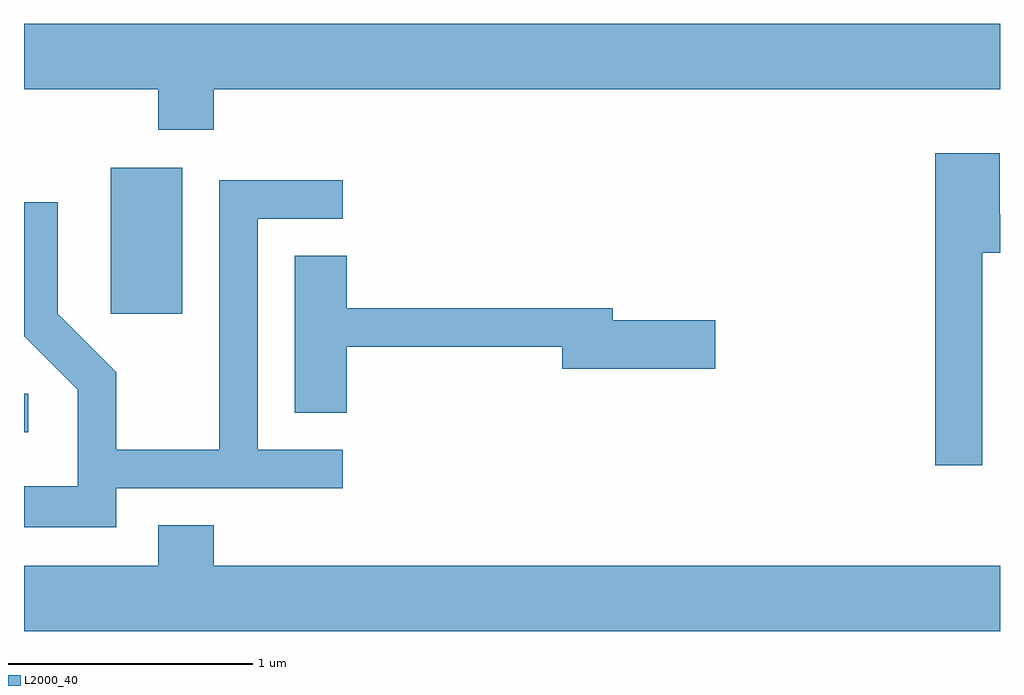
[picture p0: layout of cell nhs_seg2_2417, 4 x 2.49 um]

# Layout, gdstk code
import gdstk
lib = gdstk.Library(unit=1e-6, precision=1e-09)
def R(c, l, rs):  # rectangles x0, y0, x1, y1
    for r in rs: c.add(gdstk.rectangle(r[:2], r[2:], *l))
def P(c, l, *ps):  # polygons
    for p in ps: c.add(gdstk.Polygon(p, *l))
L2000_40 = (2000, 40)

nhs_seg2_2417 = lib.new_cell('nhs_seg2_2417')
R(nhs_seg2_2417, L2000_40, [(255.611,1053.571,255.628,1053.729), (255.966,1054.056,256.259,1054.654)])
P(nhs_seg2_2417, L2000_40, [(256.389,1054.976),(259.611,1054.976),(259.611,1055.244),(255.611,1055.244),(255.611,1054.976),(256.161,1054.976),(256.161,1054.811),(256.389,1054.811)],
  [(259.539,1054.306),(259.611,1054.306),(259.611,1054.464),(259.609,1054.464),(259.609,1054.714),(259.346,1054.714),(259.346,1053.436),(259.539,1053.436)],
  [(255.989,1053.341),(256.918,1053.341),(256.918,1053.499),(256.569,1053.499),(256.569,1054.446),(256.918,1054.446),(256.918,1054.604),(256.411,1054.604),(256.411,1053.499),(255.989,1053.499),(255.989,1053.817),(255.749,1054.057),(255.749,1054.513),(255.611,1054.513),(255.611,1053.964),(255.831,1053.744),(255.831,1053.349),(255.611,1053.349),(255.611,1053.181),(255.989,1053.181)],
  [(256.934,1053.921),(257.816,1053.921),(257.816,1053.831),(258.444,1053.831),(258.444,1054.029),(258.024,1054.029),(258.024,1054.079),(256.934,1054.079),(256.934,1054.294),(256.721,1054.294),(256.721,1053.651),(256.934,1053.651)],
  [(259.611,1053.024),(256.389,1053.024),(256.389,1053.189),(256.161,1053.189),(256.161,1053.024),(255.611,1053.024),(255.611,1052.756),(259.611,1052.756)])

lib.write_gds('nhs_seg2_2417.gds')
